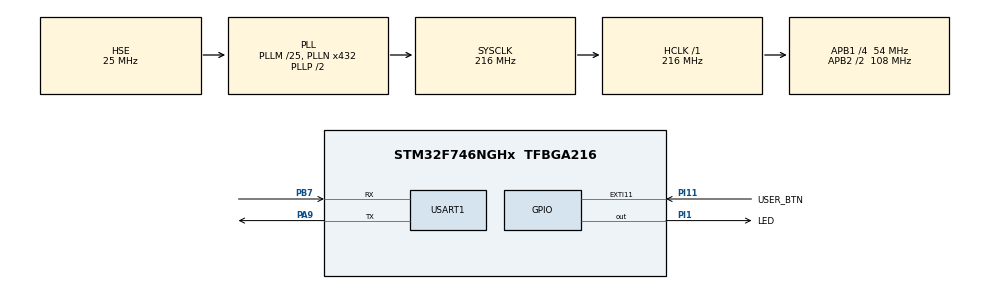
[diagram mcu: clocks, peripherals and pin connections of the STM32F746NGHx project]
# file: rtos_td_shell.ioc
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FREERTOS.Tasks01=defaultTask,0,128,StartDefaultTask,Default,NULL,Dynamic,NULL,NULL
Mcu.Family=STM32F7
Mcu.Name=STM32F746NGHx
Mcu.Package=TFBGA216
NVIC.PriorityGroup=NVIC_PRIORITYGROUP_4
NVIC.TIM6_DAC_IRQn=true\:15\:0\:false\:false\:true\:false\:false\:true\:true
NVIC.TimeBase=TIM6_DAC_IRQn
NVIC.TimeBaseIP=TIM6
NVIC.USART1_IRQn=true\:5\:0\:false\:false\:true\:true\:true\:true\:true
PA13.Mode=Serial_Wire
PA13.Signal=SYS_JTMS-SWDIO
PA14.Mode=Serial_Wire
PA14.Signal=SYS_JTCK-SWCLK
PA9.Mode=Asynchronous
PA9.Signal=USART1_TX
PB7.Mode=Asynchronous
PB7.Signal=USART1_RX
PH0/OSC_IN.Mode=HSE-External-Oscillator
PH0/OSC_IN.Signal=RCC_OSC_IN
PH1/OSC_OUT.Mode=HSE-External-Oscillator
PH1/OSC_OUT.Signal=RCC_OSC_OUT
PI1.GPIO_Label=LED
PI1.Signal=GPIO_Output
PI11.GPIO_Label=USER_BTN
PI11.Signal=GPXTI11
ProjectManager.HeapSize=0x200
ProjectManager.StackSize=0x400
ProjectManager.TargetToolchain=STM32CubeIDE
RCC.AHBFreq_Value=216000000
RCC.APB1CLKDivider=RCC_HCLK_DIV4
RCC.APB1Freq_Value=54000000
RCC.APB1TimFreq_Value=108000000
RCC.APB2CLKDivider=RCC_HCLK_DIV2
RCC.APB2Freq_Value=108000000
RCC.APB2TimFreq_Value=216000000
RCC.CortexFreq_Value=216000000
RCC.HCLKFreq_Value=216000000
RCC.HSE_VALUE=25000000
RCC.HSI_VALUE=16000000
RCC.LSE_VALUE=32768
RCC.PLLM=25
RCC.PLLN=432
RCC.PLLSourceVirtual=RCC_PLLSOURCE_HSE
RCC.SYSCLKFreq_VALUE=216000000
RCC.SYSCLKSource=RCC_SYSCLKSOURCE_PLLCLK
RCC.USBFreq_Value=216000000
RCC.VCOOutputFreq_Value=432000000
USART1.VirtualMode-Asynchronous=VM_ASYNC
VP_FREERTOS_VS_CMSIS_V1.Mode=CMSIS_V1
VP_SYS_VS_tim6.Mode=TIM6
board=STM32F746G-DISCO

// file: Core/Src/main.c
/* USER CODE BEGIN Header */
/**
 ******************************************************************************
 * @file           : main.c
 * @brief          : Main program body
 ******************************************************************************
 * @attention
 *
 * Copyright (c) 2022 STMicroelectronics.
 * All rights reserved.
 *
 * This software is licensed under terms that can be found in the LICENSE file
 * in the root directory of this software component.
 * If no LICENSE file comes with this software, it is provided AS-IS.
 *
 ******************************************************************************
 */
/* USER CODE END Header */
#include "main.h"
#include "cmsis_os.h"
#include "usart.h"
#include "gpio.h"

/* USER CODE BEGIN Includes */
#include <stdio.h>
#include <stdlib.h>
/* USER CODE END Includes */

/* USER CODE BEGIN PD */
#define STACK_SIZE 1000
#define DELAY_SHELL 100
#define TASK_SPAM_PRIORITY 3
#define TASK_CLIGNOTEMENT_PRIORITY 2
#define TASK_SHELL_PRIORITY 1
/* USER CODE END PD */

/* USER CODE BEGIN PV */
h_shell_t h_shell;
TaskHandle_t xHandle_clignotement = NULL;
TaskHandle_t xHandle_shell = NULL;
TaskHandle_t xHandle_spam = NULL;
char msg[100];
SemaphoreHandle_t sem_led;
SemaphoreHandle_t sem_spam;
int periode;
int repetition;
/* USER CODE END PV */

void SystemClock_Config(void);
void MX_FREERTOS_Init(void);

/* USER CODE BEGIN 0 */

int fonction(h_shell_t * h_shell, int argc, char ** argv)
{
	int size = snprintf (h_shell->print_buffer, BUFFER_SIZE, "Je suis une fonction bidon\r\n");
	h_shell->drv.transmit(h_shell->print_buffer, size);

	return 0;
}

void clignotement(void * pvParameters)
{
	xSemaphoreTake(sem_led, portMAX_DELAY);
	while(1)
	{
		if(periode ==0)
		{
			HAL_GPIO_WritePin(LED_GPIO_Port, LED_Pin, RESET);
		}else{
			HAL_GPIO_TogglePin(LED_GPIO_Port, LED_Pin);
			vTaskDelay(periode);
		}
	}
}

void led(h_shell_t * h_shell, int argc, char ** argv)
{
	periode = atoi(argv[1]);
	if(periode !=0)
	{
		xSemaphoreGive(sem_led);
	}
}

void task_spam(){
	xSemaphoreTake(sem_spam, portMAX_DELAY);
	for(int i = 0; i <= repetition; i++)
	{
		printf("%s\r\n", msg);
		vTaskDelay(100);
	}
}

void spam(h_shell_t * h_shell, int argc, char ** argv)
{
	strcpy(msg, argv[1]);
	repetition = atoi(argv[2]);
	xSemaphoreGive(sem_spam);
}

void shell(void * pvParameters)
{

	shell_init(&h_shell);
	shell_add(&h_shell, 'f', fonction, "Une fonction inutile");
	shell_add(&h_shell, 'l', led, "Clignotement d'une led");
	shell_add(&h_shell, 's', spam, "Fonction spam");
	shell_run(&h_shell);
}

int __io_putchar(int ch)
{
	HAL_UART_Transmit(&huart1, (uint8_t*)&ch, 1, HAL_MAX_DELAY);

	return ch;
}

/* USER CODE END 0 */

int main(void)
{
  /* USER CODE BEGIN 1 */
  BaseType_t xReturned;
  TaskHandle_t xHandle_shell = NULL;
  /* USER CODE END 1 */

  /* MCU Configuration--------------------------------------------------------*/

  /* Reset of all peripherals, Initializes the Flash interface and the Systick. */
  HAL_Init();

  /* Configure the system clock */
  SystemClock_Config();

  /* Initialize all configured peripherals */
  MX_GPIO_Init();
  MX_USART1_UART_Init();
  /* USER CODE BEGIN 2 */
  h_shell.drv.receive = drv_uart1_receive;
  h_shell.drv.transmit = drv_uart1_transmit;
  sem = xSemaphoreCreateBinary();
  sem_led = xSemaphoreCreateBinary();
  sem_spam = xSemaphoreCreateBinary();
  xReturned = xTaskCreate(shell, "shell", STACK_SIZE, (void *) DELAY_SHELL, TASK_SHELL_PRIORITY, &xHandle_shell);
  xReturned = xTaskCreate(clignotement, "clignotement", STACK_SIZE, (void *) periode, TASK_CLIGNOTEMENT_PRIORITY, &xHandle_clignotement);
  xReturned = xTaskCreate(spam, "spam", STACK_SIZE, (void *) DELAY_SHELL, TASK_SPAM_PRIORITY, &xHandle_spam);

  vTaskStartScheduler();
  /* USER CODE END 2 */

  /* Call init function for freertos objects (in freertos.c) */
  MX_FREERTOS_Init();

  /* Start scheduler */
  osKernelStart();

  /* We should never get here as control is now taken by the scheduler */
  /* Infinite loop */
	while (1)
	{

	}
}

void SystemClock_Config(void)
{
  RCC_OscInitTypeDef RCC_OscInitStruct = {0};
  RCC_ClkInitTypeDef RCC_ClkInitStruct = {0};

  /** Configure the main internal regulator output voltage
  */
  __HAL_RCC_PWR_CLK_ENABLE();
  __HAL_PWR_VOLTAGESCALING_CONFIG(PWR_REGULATOR_VOLTAGE_SCALE1);

  /** Initializes the RCC Oscillators according to the specified parameters
  * in the RCC_OscInitTypeDef structure.
  */
  RCC_OscInitStruct.OscillatorType = RCC_OSCILLATORTYPE_HSE;
  RCC_OscInitStruct.HSEState = RCC_HSE_ON;
  RCC_OscInitStruct.PLL.PLLState = RCC_PLL_ON;
  RCC_OscInitStruct.PLL.PLLSource = RCC_PLLSOURCE_HSE;
  RCC_OscInitStruct.PLL.PLLM = 25;
  RCC_OscInitStruct.PLL.PLLN = 432;
  RCC_OscInitStruct.PLL.PLLP = RCC_PLLP_DIV2;
  RCC_OscInitStruct.PLL.PLLQ = 2;
  if (HAL_RCC_OscConfig(&RCC_OscInitStruct) != HAL_OK)
  {
    Error_Handler();
  }

  /** Activate the Over-Drive mode
  */
  if (HAL_PWREx_EnableOverDrive() != HAL_OK)
  {
    Error_Handler();
  }

  /** Initializes the CPU, AHB and APB buses clocks
  */
  RCC_ClkInitStruct.ClockType = RCC_CLOCKTYPE_HCLK|RCC_CLOCKTYPE_SYSCLK
                              |RCC_CLOCKTYPE_PCLK1|RCC_CLOCKTYPE_PCLK2;
  RCC_ClkInitStruct.SYSCLKSource = RCC_SYSCLKSOURCE_PLLCLK;
  RCC_ClkInitStruct.AHBCLKDivider = RCC_SYSCLK_DIV1;
  RCC_ClkInitStruct.APB1CLKDivider = RCC_HCLK_DIV4;
  RCC_ClkInitStruct.APB2CLKDivider = RCC_HCLK_DIV2;

  if (HAL_RCC_ClockConfig(&RCC_ClkInitStruct, FLASH_LATENCY_7) != HAL_OK)
  {
    Error_Handler();
  }
}

void HAL_TIM_PeriodElapsedCallback(TIM_HandleTypeDef *htim)
{
  if (htim->Instance == TIM6) {
    HAL_IncTick();
  }
}

void Error_Handler(void)
{
	__disable_irq();
	while (1)
	{
	}
}
